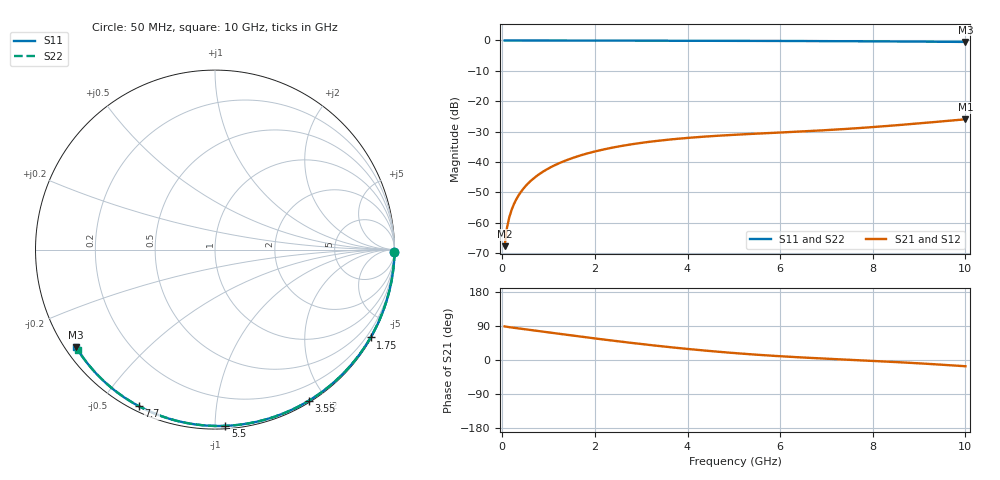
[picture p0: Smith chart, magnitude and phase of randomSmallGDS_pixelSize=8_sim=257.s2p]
! freq	dB(S11)	phase(S11)	dB(S12)	phase(S12)
!  dB(S21)	phase(S21)	dB(S22)	phase(S22)
!S-par simulation data
#  GHz  S  DB  R 50
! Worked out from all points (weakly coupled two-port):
!   200 points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, 50 MHz to 10 GHz, reference 50 ohm
!   highest |S21| = -25.98 dB at 10 GHz (marker M1); lowest = -67.8 dB at 50 MHz (marker M2)
!   lowest |S11| = -0.5 dB at 10 GHz (marker M3), VSWR 35.96, Z = 1.53 - j15.8 ohm
!   |S11| at or under -10 dB: nowhere
!   |S22| runs from -0.5 to 0.0 dB; largest |S21 - S12| = 0
!   S11 on the Smith chart (normalised r, x): 50 MHz: open; 1.75 GHz: 0.03, -3.81; 3.55 GHz: 0.02, -1.80; 5.5 GHz: 0.02, -1.06; 7.7 GHz: 0.02, -0.62; 10 GHz: 0.03, -0.32
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0.05  -0.00 -0.9  -67.77 88.7  -67.77 88.7  -0.00 -0.9
0.1  -0.00 -1.7  -61.79 87.6  -61.79 87.6  -0.00 -1.7
0.15  -0.00 -2.6  -58.32 86.6  -58.32 86.6  -0.00 -2.6
0.2  -0.00 -3.4  -55.86 85.8  -55.86 85.8  -0.00 -3.4
0.25  -0.00 -4.3  -53.95 85.0  -53.95 85.0  -0.00 -4.2
0.35  -0.00 -6.0  -51.07 83.4  -51.07 83.4  -0.00 -5.9
0.5  -0.01 -8.5  -48.02 81.0  -48.02 81.0  -0.01 -8.5
0.7  -0.01 -11.9  -45.15 77.8  -45.15 77.8  -0.01 -11.8
1  -0.02 -17.0  -42.14 72.9  -42.14 72.9  -0.02 -16.8
1.35  -0.03 -22.8  -39.66 67.2  -39.66 67.2  -0.03 -22.6
1.75  -0.04 -29.4  -37.60 60.9  -37.60 60.9  -0.04 -29.2
2.5  -0.05 -41.6  -34.96 49.4  -34.96 49.4  -0.05 -41.3
3.4  -0.08 -55.8  -32.99 36.7  -32.99 36.7  -0.07 -55.4
3.55  -0.08 -58.1  -32.74 34.8  -32.74 34.8  -0.08 -57.7
4.3  -0.10 -69.4  -31.76 25.7  -31.76 25.7  -0.10 -68.9
5.05  -0.12 -80.3  -31.05 17.9  -31.05 17.9  -0.12 -79.7
5.5  -0.14 -86.6  -30.69 13.9  -30.69 13.9  -0.14 -86.0
6.7  -0.20 -103.0  -29.79 5.2  -29.79 5.2  -0.20 -102.3
7.7  -0.26 -116.0  -28.87 -0.6  -28.87 -0.6  -0.26 -115.2
8.35  -0.32 -124.2  -28.13 -4.5  -28.13 -4.5  -0.31 -123.4
9.2  -0.40 -134.9  -27.05 -10.2  -27.05 -10.2  -0.39 -134.0
10  -0.48 -144.9  -25.98 -16.5  -25.98 -16.5  -0.48 -143.9
